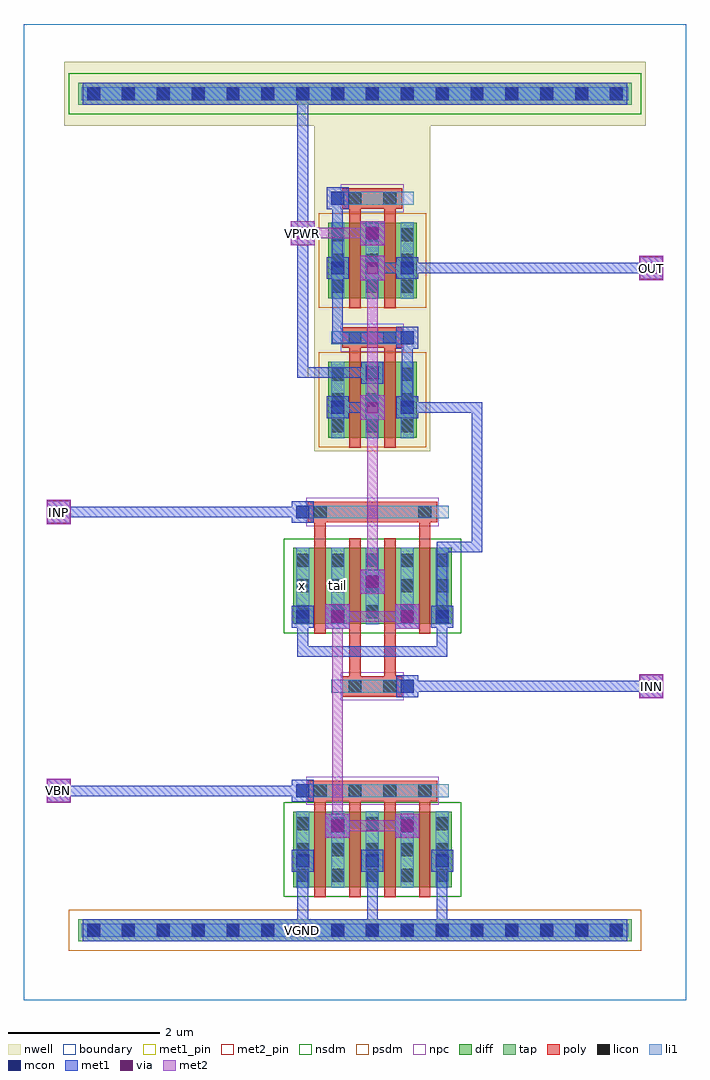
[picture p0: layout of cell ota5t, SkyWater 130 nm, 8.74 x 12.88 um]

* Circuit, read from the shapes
.subckt ota5t INN INP OUT VBN VGND VPWR tail x
XM1 tail VBN VGND VGND sky130_fd_pr__nfet_01v8 w=1 l=0.15 m=4
XM2 tail INP x VGND sky130_fd_pr__nfet_01v8 w=1 l=0.15 m=2
XM3 OUT INN tail VGND sky130_fd_pr__nfet_01v8 w=1 l=0.15 m=2
XM4 VPWR x OUT VPWR sky130_fd_pr__pfet_01v8 w=1 l=0.15 m=2
XM5 VPWR x x VPWR sky130_fd_pr__pfet_01v8 w=1 l=0.15 m=2
.ends

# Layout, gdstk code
import gdstk
lib = gdstk.Library(unit=1e-6, precision=1e-09)
def R(c, l, rs):  # rectangles x0, y0, x1, y1
    for r in rs: c.add(gdstk.rectangle(r[:2], r[2:], *l))
def A(c, l, x, y, w, h, nx, ny, dx, dy):  # array of equal rectangles
    R(c, l, [(x+i*dx, y+j*dy, x+i*dx+w, y+j*dy+h) for i in range(nx) for j in range(ny)])
nwell = (64, 20)
diff = (65, 20)
tap = (65, 44)
poly = (66, 20)
licon = (66, 44)
li1 = (67, 20)
mcon = (67, 44)
met1_pin = (68, 16)
met1 = (68, 20)
via = (68, 44)
met2_pin = (69, 16)
met2 = (69, 20)
nsdm = (93, 44)
psdm = (94, 20)
npc = (95, 20)
boundary = (235, 4)

ota5t = lib.new_cell('ota5t')
R(ota5t, nwell, [(3.835,7.24,5.365,11.54), (0.535,11.54,8.205,12.38)])
R(ota5t, diff, [(3.555,1.485,5.645,2.485), (3.555,4.965,5.645,5.965), (4.015,7.42,5.185,8.42), (4.015,9.26,5.185,10.26)])
R(ota5t, tap, [(0.715,0.775,8.025,1.065), (0.715,11.815,8.025,12.105)])
A(ota5t, poly, 3.835, 1.355, 0.15, 1.405, 4, 1, 0.46, 0)
R(ota5t, poly, [(3.745,2.625,5.455,2.895), (4.205,4.005,4.995,4.275), (4.295,4.14,4.445,6.095), (4.755,4.14,4.905,6.095), (3.835,4.835,3.985,6.44), (5.215,4.835,5.365,6.44), (3.745,6.305,5.455,6.575), (4.295,7.29,4.445,8.74), (4.755,7.29,4.905,8.74), (4.205,8.605,4.995,8.875), (4.295,9.13,4.445,10.58), (4.755,9.13,4.905,10.58), (4.205,10.445,4.995,10.715)])
A(ota5t, licon, 0.835, 0.835, 0.17, 0.17, 16, 2, 0.46, 11.04)
A(ota5t, licon, 3.595, 1.56, 0.17, 0.17, 5, 3, 0.46, 0.34)
A(ota5t, licon, 3.825, 2.675, 0.17, 0.17, 4, 1, 0.46, 0)
A(ota5t, licon, 3.595, 5.04, 0.17, 0.17, 5, 3, 0.46, 0.34)
A(ota5t, licon, 4.055, 7.495, 0.17, 0.17, 3, 3, 0.46, 0.34)
A(ota5t, licon, 4.055, 9.335, 0.17, 0.17, 3, 3, 0.46, 0.34)
R(ota5t, licon, [(4.285,4.055,4.455,4.225), (4.745,4.055,4.915,4.225), (3.825,6.355,3.995,6.525), (5.205,6.355,5.375,6.525), (4.285,8.655,4.455,8.825), (4.745,8.655,4.915,8.825), (4.285,10.495,4.455,10.665), (4.745,10.495,4.915,10.665)])
A(ota5t, li1, 3.595, 1.48, 0.17, 1.01, 5, 2, 0.46, 3.48)
A(ota5t, li1, 4.055, 7.415, 0.17, 1.01, 3, 2, 0.46, 1.84)
R(ota5t, li1, [(0.755,0.835,7.985,1.005), (3.595,2.675,5.605,2.845), (4.055,4.055,5.145,4.225), (3.595,6.355,5.605,6.525), (4.055,8.655,5.145,8.825), (4.055,10.495,5.145,10.665), (0.755,11.875,7.985,12.045)])
A(ota5t, mcon, 0.835, 0.835, 0.17, 0.17, 16, 2, 0.46, 11.04)
A(ota5t, mcon, 3.595, 1.755, 0.17, 0.17, 3, 1, 0.92, 0)
A(ota5t, mcon, 4.055, 2.215, 0.17, 0.17, 1, 3, 0, 2.76)
A(ota5t, mcon, 4.975, 7.735, 0.17, 0.17, 1, 3, 0, 0.92)
R(ota5t, mcon, [(4.975,2.215,5.145,2.385), (3.595,2.675,3.765,2.845), (4.975,4.055,5.145,4.225), (3.595,4.975,3.765,5.145), (4.975,4.975,5.145,5.145), (5.435,4.975,5.605,5.145), (4.515,5.435,4.685,5.605), (3.595,6.355,3.765,6.525), (4.515,8.195,4.685,8.365), (4.055,9.575,4.225,9.745), (4.515,10.035,4.685,10.205), (4.055,10.495,4.225,10.665)])
R(ota5t, met1_pin, [(3.61,0.85,3.75,0.99), (3.61,8.21,3.75,12.03)])
A(ota5t, met1, 3.61, 0.85, 0.14, 1.06, 3, 1, 0.92, 0)
A(ota5t, met1, 3.535, 1.695, 0.29, 0.29, 3, 1, 0.92, 0)
A(ota5t, met1, 3.995, 2.155, 0.29, 0.29, 1, 3, 0, 2.76)
A(ota5t, met1, 4.915, 7.675, 0.29, 0.29, 1, 3, 0, 0.92)
R(ota5t, met1, [(0.775,0.775,7.965,1.065), (3.61,0.85,4.67,0.99), (3.61,0.85,3.75,0.99), (4.53,0.85,5.59,0.99), (3.98,2.14,4.3,2.46), (4.9,2.14,5.22,2.46), (4.915,2.155,5.205,2.445), (0.3,2.6,0.62,2.92), (3.535,2.615,3.825,2.905), (0.39,2.69,3.75,2.83), (8.12,3.98,8.44,4.3), (4.915,3.995,5.205,4.285), (4.99,4.07,8.35,4.21), (3.61,4.53,3.75,5.13), (3.61,4.53,5.59,4.67), (5.45,4.53,5.59,5.13), (3.98,4.9,4.3,5.22), (4.9,4.9,5.22,5.22), (3.535,4.915,3.825,5.205), (4.915,4.915,5.205,5.205), (5.375,4.915,5.665,5.205), (5.45,4.99,5.59,6.05), (4.44,5.36,4.76,5.68), (4.455,5.375,4.745,5.665), (5.45,5.91,6.05,6.05), (5.91,5.91,6.05,7.89), (0.3,6.28,0.62,6.6), (3.535,6.295,3.825,6.585), (0.39,6.37,3.75,6.51), (4.44,7.66,4.76,7.98), (4.07,7.75,4.67,7.89), (4.99,7.75,5.13,8.81), (4.99,7.75,6.05,7.89), (4.455,8.135,4.745,8.425), (3.61,8.21,4.67,8.35), (3.61,8.21,3.75,12.03), (4.07,8.67,4.21,9.73), (4.07,8.67,5.13,8.81), (4.44,9.5,4.76,9.82), (8.12,9.5,8.44,9.82), (3.995,9.515,4.285,9.805), (4.07,9.59,4.21,10.65), (4.53,9.59,5.13,9.73), (4.99,9.59,8.35,9.73), (3.52,9.96,3.84,10.28), (4.44,9.96,4.76,10.28), (4.455,9.975,4.745,10.265), (3.995,10.435,4.285,10.725), (0.775,11.815,7.965,12.105), (3.61,11.89,3.75,12.03)])
R(ota5t, via, [(4.065,2.225,4.215,2.375), (4.985,2.225,5.135,2.375), (0.385,2.685,0.535,2.835), (8.205,4.065,8.355,4.215), (4.065,4.985,4.215,5.135), (4.985,4.985,5.135,5.135), (4.525,5.445,4.675,5.595), (0.385,6.365,0.535,6.515), (4.525,7.745,4.675,7.895), (4.525,9.585,4.675,9.735), (8.205,9.585,8.355,9.735), (3.605,10.045,3.755,10.195), (4.525,10.045,4.675,10.195)])
R(ota5t, met2_pin, [(0.31,2.61,0.61,2.91), (8.13,3.99,8.43,4.29), (0.31,6.29,0.61,6.59), (8.13,9.51,8.43,9.81)])
R(ota5t, met2, [(3.98,2.14,4.3,2.46), (4.9,2.14,5.22,2.46), (4.07,2.23,5.13,2.37), (4.07,2.23,4.21,5.13), (0.3,2.6,0.62,2.92), (0.31,2.61,0.61,2.91), (0.39,2.69,0.53,2.83), (8.12,3.98,8.44,4.3), (8.13,3.99,8.43,4.29), (8.21,4.07,8.35,4.21), (3.98,4.9,4.3,5.22), (4.9,4.9,5.22,5.22), (4.07,4.99,5.13,5.13), (4.44,5.36,4.76,5.68), (4.53,5.45,4.67,7.89), (0.3,6.28,0.62,6.6), (0.31,6.29,0.61,6.59), (0.39,6.37,0.53,6.51), (4.44,7.66,4.76,7.98), (4.53,7.75,4.67,9.73), (4.44,9.5,4.76,9.82), (8.12,9.5,8.44,9.82), (8.13,9.51,8.43,9.81), (8.21,9.59,8.35,9.73), (3.52,9.96,3.84,10.28), (4.44,9.96,4.76,10.28), (3.61,10.05,4.67,10.19)])
R(ota5t, nsdm, [(3.43,1.36,5.77,2.61), (3.43,4.84,5.77,6.09), (0.59,11.69,8.15,12.23)])
R(ota5t, psdm, [(0.59,0.65,8.15,1.19), (3.89,7.295,5.31,8.545), (3.89,9.135,5.31,10.385)])
R(ota5t, npc, [(3.725,2.575,5.475,2.945), (4.185,3.955,5.015,4.325), (3.725,6.255,5.475,6.625), (4.185,8.555,5.015,8.925), (4.185,10.395,5.015,10.765)])
R(ota5t, boundary, [(0,0,8.74,12.88)])
ota5t.add(gdstk.Label('x', (3.68,5.465), layer=67, texttype=5))
ota5t.add(gdstk.Label('tail', (4.14,5.465), layer=67, texttype=5))
ota5t.add(gdstk.Label('VPWR', (3.68,10.12), layer=68, texttype=5))
ota5t.add(gdstk.Label('VGND', (3.68,0.92), layer=68, texttype=5))
ota5t.add(gdstk.Label('INP', (0.46,6.44), layer=69, texttype=5))
ota5t.add(gdstk.Label('INN', (8.28,4.14), layer=69, texttype=5))
ota5t.add(gdstk.Label('VBN', (0.46,2.76), layer=69, texttype=5))
ota5t.add(gdstk.Label('OUT', (8.28,9.66), layer=69, texttype=5))
ota5t.add(gdstk.Label('VPWR', (3.68,10.12), layer=68, texttype=16))
ota5t.add(gdstk.Label('VGND', (3.68,0.92), layer=68, texttype=16))
ota5t.add(gdstk.Label('INP', (0.46,6.44), layer=69, texttype=16))
ota5t.add(gdstk.Label('INN', (8.28,4.14), layer=69, texttype=16))
ota5t.add(gdstk.Label('VBN', (0.46,2.76), layer=69, texttype=16))
ota5t.add(gdstk.Label('OUT', (8.28,9.66), layer=69, texttype=16))

lib.write_gds('ota5t.gds')
